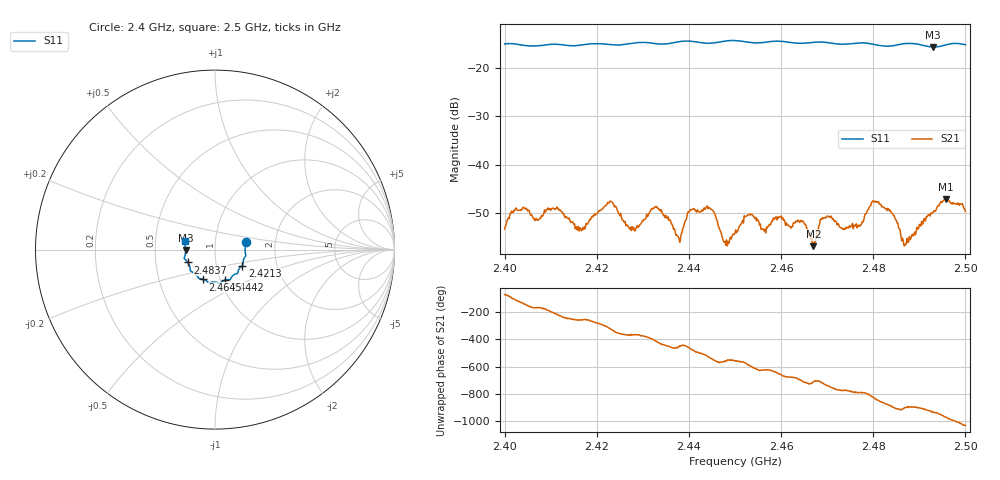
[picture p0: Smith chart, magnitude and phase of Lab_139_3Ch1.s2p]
# Hz S RI R 50
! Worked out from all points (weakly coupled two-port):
!   601 points, 2.4 GHz to 2.5 GHz, reference 50 ohm
!   highest |S21| = -47.04 dB at 2.4958 GHz (marker M1); lowest = -56.8 dB at 2.467 GHz (marker M2)
!   lowest |S11| = -15.7 dB at 2.493 GHz (marker M3), VSWR 1.39, Z = 35.9 - j0.225 ohm
!   |S11| at or under -10 dB: start of sweep to end of sweep
!   S12 and S22 are empty: the file has one direction only
!   S11 on the Smith chart (normalised r, x): 2.4 GHz: 1.41, +0.12; 2.4213 GHz: 1.33, -0.25; 2.4442 GHz: 1.05, -0.37; 2.4645 GHz: 0.83, -0.29; 2.4837 GHz: 0.73, -0.11; 2.5 GHz: 0.71, +0.07
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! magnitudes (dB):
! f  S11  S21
! 2.4 GHz  -15.1  -53.2
! 2.411 GHz  -15.2  -49.1
! 2.4167 GHz  -15.3  -53.6
! 2.4213 GHz  -15.1  -49.0
! 2.428 GHz  -14.9  -52.9
! 2.4333 GHz  -15.1  -49.0
! 2.4377 GHz  -14.6  -54.8
! 2.4402 GHz  -14.5  -49.5
! 2.4442 GHz  -15.0  -49.0
! 2.4478 GHz  -14.5  -55.8
! 2.45 GHz  -14.4  -54.1
! 2.4532 GHz  -14.8  -50.1
! 2.4645 GHz  -15.0  -51.7
! 2.4667 GHz  -14.8  -55.1
! 2.467 GHz  -14.8  -56.8
! 2.469 GHz  -14.7  -50.9
! 2.4833 GHz  -15.6  -49.2
! 2.4837 GHz  -15.5  -49.3
! 2.4872 GHz  -15.0  -56.3
! 2.493 GHz  -15.7  -49.8
! 2.4958 GHz  -15.3  -47.0
! 2.5 GHz  -15.3  -49.6
